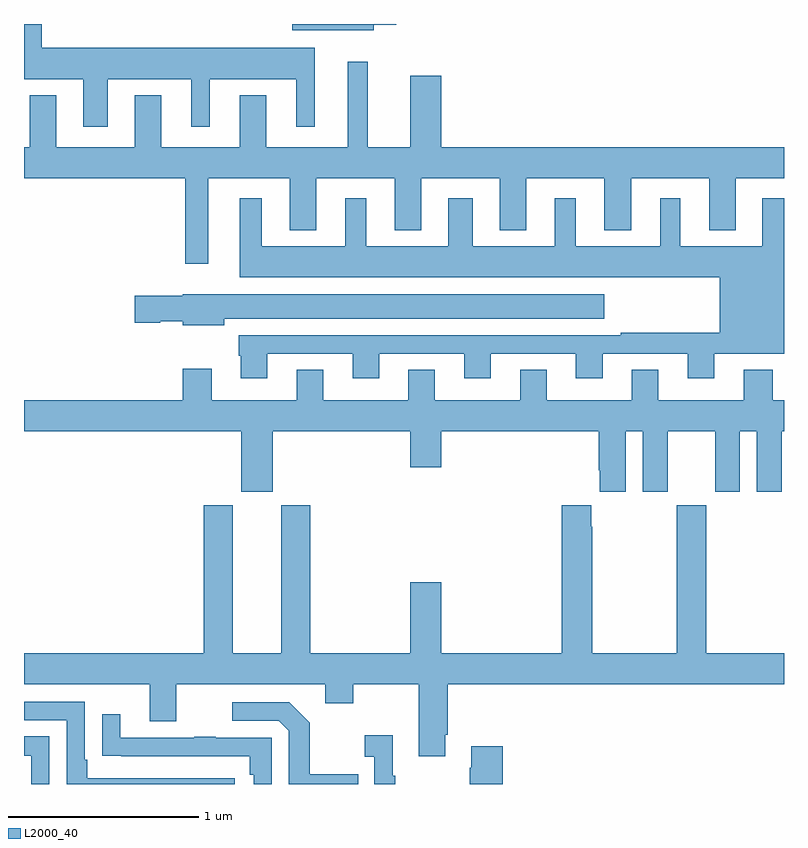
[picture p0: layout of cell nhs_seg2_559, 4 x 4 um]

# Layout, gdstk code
import gdstk
lib = gdstk.Library(unit=1e-6, precision=1e-09)
def P(c, l, *ps):  # polygons
    for p in ps: c.add(gdstk.Polygon(p, *l))
L2000_40 = (2000, 40)

nhs_seg2_559 = lib.new_cell('nhs_seg2_559')
P(nhs_seg2_559, L2000_40, [(139.441,629.51),(139.88,629.51),(139.88,629.259),(139.978,629.259),(139.978,629.51),(140.432,629.51),(140.432,629.259),(140.53,629.259),(140.53,629.674),(139.093,629.674),(139.093,629.8),(139,629.8),(139,629.51),(139.313,629.51),(139.313,629.259),(139.441,629.259)],
  [(140.842,629.795),(140.958,629.795),(140.958,629.8),(140.412,629.8),(140.412,629.768),(140.842,629.768)],
  [(139.969,628.988),(140.399,628.988),(140.399,628.715),(140.539,628.715),(140.539,628.988),(140.951,628.988),(140.951,628.715),(141.091,628.715),(141.091,628.988),(141.503,628.988),(141.503,628.715),(141.643,628.715),(141.643,628.988),(142.055,628.988),(142.055,628.715),(142.195,628.715),(142.195,628.988),(142.607,628.988),(142.607,628.715),(142.747,628.715),(142.747,628.988),(143,628.988),(143,629.152),(141.196,629.152),(141.196,629.527),(141.032,629.527),(141.032,629.152),(140.809,629.152),(140.809,629.602),(140.705,629.602),(140.705,629.152),(140.275,629.152),(140.275,629.425),(140.135,629.425),(140.135,629.152),(139.723,629.152),(139.723,629.425),(139.583,629.425),(139.583,629.152),(139.171,629.152),(139.171,629.425),(139.031,629.425),(139.031,629.152),(139,629.152),(139,628.988),(139.848,628.988),(139.848,628.539),(139.969,628.539)],
  [(140.281,628.065),(140.729,628.065),(140.729,627.936),(140.869,627.936),(140.869,628.065),(141.317,628.065),(141.317,627.936),(141.457,627.936),(141.457,628.065),(141.905,628.065),(141.905,627.936),(142.045,627.936),(142.045,628.065),(142.493,628.065),(142.493,627.936),(142.633,627.936),(142.633,628.064),(143,628.064),(143,628.882),(142.886,628.882),(142.886,628.63),(142.453,628.63),(142.453,628.882),(142.349,628.882),(142.349,628.63),(141.904,628.63),(141.904,628.882),(141.794,628.882),(141.794,628.63),(141.361,628.63),(141.361,628.882),(141.233,628.882),(141.233,628.63),(140.8,628.63),(140.8,628.882),(140.69,628.882),(140.69,628.63),(140.251,628.63),(140.251,628.882),(140.135,628.882),(140.135,628.466),(142.661,628.466),(142.661,628.174),(142.141,628.174),(142.141,628.161),(140.129,628.161),(140.129,628.053),(140.141,628.053),(140.141,627.936),(140.281,627.936)],
  [(140.053,628.25),(142.054,628.25),(142.054,628.378),(139.836,628.378),(139.836,628.37),(139.584,628.37),(139.584,628.228),(139.716,628.228),(139.716,628.235),(139.836,628.235),(139.836,628.214),(140.053,628.214)],
  [(139.987,627.985),(139.835,627.985),(139.835,627.82),(139,627.82),(139,627.656),(140.144,627.656),(140.144,627.339),(140.308,627.339),(140.308,627.656),(141.032,627.656),(141.032,627.468),(141.196,627.468),(141.196,627.656),(142.025,627.656),(142.025,627.451),(142.031,627.451),(142.031,627.339),(142.168,627.339),(142.168,627.656),(142.256,627.656),(142.256,627.339),(142.387,627.339),(142.387,627.656),(142.637,627.656),(142.637,627.339),(142.768,627.339),(142.768,627.656),(142.856,627.656),(142.856,627.339),(142.987,627.339),(142.987,627.656),(143,627.656),(143,627.82),(142.94,627.82),(142.94,627.979),(142.787,627.979),(142.787,627.82),(142.339,627.82),(142.339,627.98),(142.199,627.98),(142.199,627.82),(141.751,627.82),(141.751,627.98),(141.611,627.98),(141.611,627.82),(141.163,627.82),(141.163,627.98),(141.023,627.98),(141.023,627.82),(140.575,627.82),(140.575,627.98),(140.435,627.98),(140.435,627.82),(139.987,627.82)],
  [(140.507,627.267),(140.354,627.267),(140.354,626.488),(140.098,626.488),(140.098,627.267),(139.946,627.267),(139.946,626.488),(139,626.488),(139,626.324),(139.661,626.324),(139.661,626.13),(139.801,626.13),(139.801,626.324),(140.585,626.324),(140.585,626.225),(140.733,626.225),(140.733,626.324),(141.077,626.324),(141.077,625.947),(141.217,625.947),(141.217,626.059),(141.23,626.059),(141.23,626.324),(143,626.324),(143,626.488),(142.59,626.488),(142.59,627.268),(142.435,627.268),(142.435,626.488),(141.99,626.488),(141.99,627.155),(141.985,627.155),(141.985,627.268),(141.83,627.268),(141.83,626.488),(141.196,626.488),(141.196,626.863),(141.032,626.863),(141.032,626.488),(140.507,626.488)],
  [(140.11,625.83),(139.333,625.83),(139.333,625.927),(139.32,625.927),(139.32,626.232),(139,626.232),(139,626.136),(139.224,626.136),(139.224,625.8),(140.11,625.8)],
  [(140.759,625.851),(140.503,625.851),(140.503,626.123),(140.397,626.229),(140.097,626.229),(140.097,626.133),(140.34,626.133),(140.394,626.079),(140.394,625.8),(140.759,625.8)],
  [(140.304,626.043),(140.009,626.043),(140.009,626.048),(139.897,626.048),(139.897,626.043),(139.507,626.043),(139.507,626.167),(139.411,626.167),(139.411,625.948),(139.513,625.948),(139.513,625.947),(140.188,625.947),(140.188,625.85),(140.208,625.85),(140.208,625.8),(140.304,625.8)],
  [(140.953,625.843),(140.941,625.843),(140.941,626.056),(140.793,626.056),(140.793,625.943),(140.844,625.943),(140.844,625.8),(140.953,625.8)],
  [(139.134,626.051),(139,626.051),(139,625.95),(139.038,625.95),(139.038,625.8),(139.134,625.8)],
  [(141.521,625.999),(141.353,625.999),(141.353,625.886),(141.346,625.886),(141.346,625.8),(141.521,625.8)])

lib.write_gds('nhs_seg2_559.gds')
